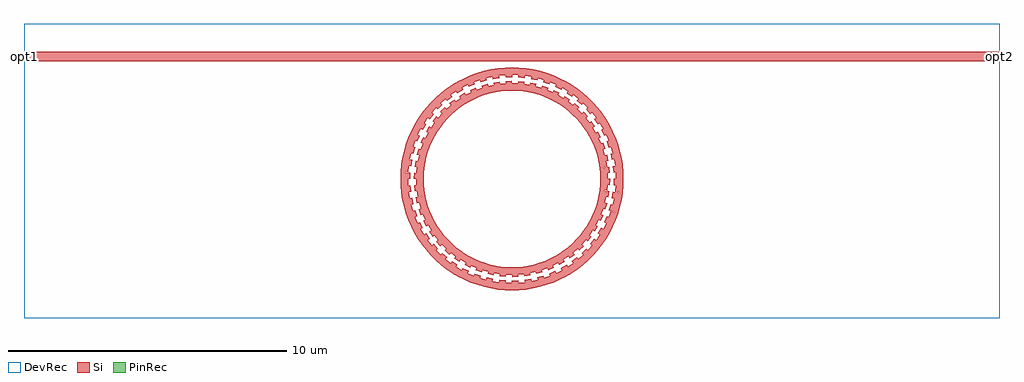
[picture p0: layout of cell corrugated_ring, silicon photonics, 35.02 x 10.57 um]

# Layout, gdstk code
import gdstk
lib = gdstk.Library(unit=1e-6, precision=1e-09)
def R(c, l, rs):  # rectangles x0, y0, x1, y1
    for r in rs: c.add(gdstk.rectangle(r[:2], r[2:], *l))
def P(c, l, *ps):  # polygons
    for p in ps: c.add(gdstk.Polygon(p, *l))
Si = (1, 0)
PinRec = (1, 10)
DevRec = (68, 0)

inner_1 = lib.new_cell('Inner$1')
P(inner_1, Si, [(-3.114,0.593),(-3.379,0.643),(-3.332,0.855),(-3.07,0.788)],
  [(3.332,-0.855),(3.07,-0.788),(3.114,-0.593),(3.379,-0.643)],
  [(-3.52,0),(-3.513,0.22),(-3.164,0.198),(-3.17,0)],
  [(3.114,0.595),(3.07,0.788),(3.409,0.875),(3.457,0.661)],
  [(0.442,-3.492),(0.398,-3.145),(0.594,-3.114),(0.66,-3.458)],
  [(2.169,2.312),(2.021,2.443),(2.244,2.712),(2.409,2.567)],
  [(0.216,-3.433),(0.199,-3.164),(0.398,-3.145),(0.432,-3.413)],
  [(0.001,-3.52),(0.001,-3.17),(0.199,-3.164),(0.221,-3.513)],
  [(-0.43,-3.413),(-0.645,-3.379),(-0.594,-3.114),(-0.396,-3.145)],
  [(0.396,3.145),(0.199,3.164),(0.221,3.513),(0.44,3.492)],
  [(-0.221,-3.513),(-0.44,-3.492),(-0.396,-3.145),(-0.199,-3.164)],
  [(3.015,0.981),(2.947,1.167),(3.273,1.296),(3.347,1.089)],
  [(-2.354,-2.508),(-2.508,-2.355),(-2.311,-2.17),(-2.169,-2.312)],
  [(-0.398,3.145),(-0.432,3.413),(-0.216,3.433),(-0.199,3.164)],
  [(-1.265,-3.199),(-1.465,-3.113),(-1.35,-2.868),(-1.166,-2.948)],
  [(2.676,1.699),(2.565,1.863),(2.848,2.069),(2.971,1.887)],
  [(1.063,-3.272),(0.98,-3.015),(1.168,-2.947),(1.267,-3.198)],
  [(-1.656,-3.015),(-1.843,-2.904),(-1.699,-2.677),(-1.526,-2.778)],
  [(1.697,-3.084),(1.528,-2.777),(1.699,-2.677),(1.886,-2.972)],
  [(2.41,-2.565),(2.171,-2.31),(2.311,-2.17),(2.566,-2.41)],
  [(2.508,-2.355),(2.311,-2.17),(2.443,-2.02),(2.651,-2.192)],
  [(1.297,-3.272),(1.168,-2.947),(1.35,-2.868),(1.499,-3.185)],
  [(3.17,0),(3.164,0.2),(3.433,0.217),(3.44,0)],
  [(-1.886,-2.972),(-2.068,-2.848),(-1.862,-2.565),(-1.699,-2.677)],
  [(-2.778,1.527),(-3.085,1.696),(-2.973,1.885),(-2.677,1.698)],
  [(-2.311,2.17),(-2.566,2.41),(-2.41,2.565),(-2.171,2.31)],
  [(-2.565,1.863),(-2.848,2.069),(-2.713,2.243),(-2.443,2.02)],
  [(2.947,1.167),(2.868,1.351),(3.112,1.466),(3.198,1.266)],
  [(2.778,1.527),(2.676,1.699),(2.904,1.844),(3.014,1.657)],
  [(-3.433,-0.217),(-3.44,0),(-3.17,0),(-3.164,-0.2)],
  [(3.413,-0.431),(3.145,-0.397),(3.164,-0.198),(3.433,-0.215)],
  [(3.164,0.2),(3.145,0.397),(3.492,0.441),(3.513,0.222)],
  [(0.877,-3.409),(0.789,-3.07),(0.98,-3.015),(1.088,-3.348)],
  [(-3.164,0.198),(-3.433,0.215),(-3.413,0.431),(-3.145,0.397)],
  [(2.713,-2.243),(2.443,-2.02),(2.565,-1.863),(2.848,-2.069)],
  [(-1.528,2.777),(-1.658,3.014),(-1.465,3.113),(-1.35,2.868)],
  [(-1.699,2.677),(-1.886,2.972),(-1.697,3.084),(-1.528,2.777)],
  [(2.311,2.17),(2.169,2.312),(2.354,2.508),(2.508,2.355)],
  [(1.862,2.565),(1.699,2.677),(1.886,2.972),(2.068,2.848)],
  [(-3.015,0.979),(-3.272,1.062),(-3.198,1.266),(-2.947,1.167)],
  [(-2.171,2.31),(-2.356,2.507),(-2.193,2.651),(-2.021,2.443)],
  [(3.513,-0.22),(3.164,-0.198),(3.17,0),(3.52,0)],
  [(2.193,-2.651),(2.021,-2.443),(2.171,-2.31),(2.356,-2.507)],
  [(3.185,-1.498),(2.869,-1.349),(2.947,-1.167),(3.273,-1.296)],
  [(1.526,2.778),(1.35,2.868),(1.499,3.185),(1.695,3.085)],
  [(-2.65,-2.194),(-2.783,-2.022),(-2.565,-1.863),(-2.442,-2.021)],
  [(-1.499,-3.185),(-1.695,-3.085),(-1.526,-2.778),(-1.35,-2.868)],
  [(-0.98,3.015),(-1.088,3.348),(-0.877,3.409),(-0.789,3.07)],
  [(2.973,-1.885),(2.677,-1.698),(2.778,-1.527),(3.085,-1.696)],
  [(0.199,3.164),(-0.001,3.17),(-0.001,3.44),(0.216,3.433)],
  [(-0.789,3.07),(-0.857,3.332),(-0.645,3.379),(-0.594,3.114)],
  [(-0.66,-3.458),(-0.874,-3.41),(-0.787,-3.071),(-0.594,-3.114)],
  [(-1.168,2.947),(-1.267,3.198),(-1.063,3.272),(-0.98,3.015)],
  [(-2.947,1.167),(-3.273,1.296),(-3.185,1.498),(-2.869,1.349)],
  [(3.348,-1.087),(3.015,-0.979),(3.07,-0.788),(3.409,-0.875)],
  [(-3.273,-1.296),(-3.347,-1.089),(-3.015,-0.981),(-2.947,-1.167)],
  [(-2.904,-1.844),(-3.014,-1.657),(-2.778,-1.527),(-2.676,-1.699)],
  [(3.458,-0.658),(3.114,-0.593),(3.145,-0.397),(3.492,-0.441)],
  [(-3.145,0.397),(-3.492,0.441),(-3.458,0.658),(-3.114,0.593)],
  [(-3.112,-1.466),(-3.198,-1.266),(-2.947,-1.167),(-2.868,-1.351)],
  [(-1.864,2.564),(-2.023,2.782),(-1.843,2.904),(-1.699,2.677)],
  [(2.021,2.443),(1.862,2.565),(2.021,2.784),(2.193,2.651)],
  [(-3.085,-1.696),(-3.184,-1.5),(-2.868,-1.351),(-2.778,-1.527)],
  [(-1.35,2.868),(-1.499,3.185),(-1.297,3.272),(-1.168,2.947)],
  [(-2.443,2.02),(-2.651,2.192),(-2.508,2.355),(-2.311,2.17)],
  [(0.594,3.114),(0.396,3.145),(0.43,3.413),(0.645,3.379)],
  [(-2.869,1.349),(-3.113,1.464),(-3.014,1.657),(-2.778,1.527)],
  [(-0.854,-3.332),(-1.063,-3.272),(-0.98,-3.015),(-0.787,-3.071)],
  [(1.166,2.948),(0.98,3.015),(1.088,3.348),(1.295,3.273)],
  [(1.843,-2.904),(1.699,-2.677),(1.864,-2.564),(2.023,-2.782)],
  [(1.465,-3.113),(1.35,-2.868),(1.528,-2.777),(1.658,-3.014)],
  [(-3.492,-0.441),(-3.513,-0.222),(-3.164,-0.2),(-3.145,-0.397)],
  [(0.98,3.015),(0.787,3.071),(0.854,3.332),(1.063,3.272)],
  [(-3.07,0.788),(-3.409,0.875),(-3.348,1.087),(-3.015,0.979)],
  [(-2.021,-2.784),(-2.193,-2.651),(-2.021,-2.443),(-1.862,-2.565)],
  [(2.783,-2.022),(2.565,-1.863),(2.677,-1.698),(2.905,-1.842)],
  [(2.565,1.863),(2.442,2.021),(2.65,2.194),(2.783,2.022)],
  [(0.001,-3.44),(-0.216,-3.433),(-0.199,-3.164),(0.001,-3.17)],
  [(-1.088,-3.348),(-1.295,-3.273),(-1.166,-2.948),(-0.98,-3.015)],
  [(3.014,-1.657),(2.778,-1.527),(2.869,-1.349),(3.113,-1.464)],
  [(-0.199,3.164),(-0.221,3.513),(-0.001,3.52),(-0.001,3.17)],
  [(-2.244,-2.712),(-2.409,-2.567),(-2.169,-2.312),(-2.021,-2.443)],
  [(0.645,-3.379),(0.594,-3.114),(0.789,-3.07),(0.857,-3.332)],
  [(3.07,0.788),(3.015,0.981),(3.271,1.064),(3.332,0.855)],
  [(2.442,2.021),(2.311,2.17),(2.566,2.41),(2.711,2.245)],
  [(3.145,0.397),(3.114,0.595),(3.379,0.646),(3.413,0.431)],
  [(2.07,-2.847),(1.864,-2.564),(2.021,-2.443),(2.244,-2.712)],
  [(1.35,2.868),(1.166,2.948),(1.265,3.199),(1.465,3.113)],
  [(-0.594,3.114),(-0.66,3.458),(-0.442,3.492),(-0.398,3.145)],
  [(2.868,1.351),(2.778,1.527),(3.085,1.696),(3.184,1.5)],
  [(-2.566,-2.41),(-2.711,-2.245),(-2.442,-2.021),(-2.311,-2.17)],
  [(-2.021,2.443),(-2.244,2.712),(-2.07,2.847),(-1.864,2.564)],
  [(0.787,3.071),(0.594,3.114),(0.66,3.458),(0.874,3.41)],
  [(-2.677,1.698),(-2.905,1.842),(-2.783,2.022),(-2.565,1.863)],
  [(-3.379,-0.646),(-3.413,-0.431),(-3.145,-0.397),(-3.114,-0.595)],
  [(1.699,2.677),(1.526,2.778),(1.656,3.015),(1.843,2.904)],
  [(-3.271,-1.064),(-3.332,-0.855),(-3.07,-0.788),(-3.015,-0.981)],
  [(-3.409,-0.875),(-3.457,-0.661),(-3.114,-0.595),(-3.07,-0.788)],
  [(3.198,-1.266),(2.947,-1.167),(3.015,-0.979),(3.272,-1.062)],
  [(-2.848,-2.069),(-2.971,-1.887),(-2.676,-1.699),(-2.565,-1.863)])

outer_1 = lib.new_cell('Outer$1')
R(outer_1, Si, [(-17.5,4.23,17.5,4.57)])
P(outer_1, Si, [(-1.928,-3.505),(-2.143,-3.377),(-1.999,-3.149),(-1.798,-3.268)],
  [(-3.394,1.344),(-3.719,1.472),(-3.619,1.704),(-3.302,1.555)],
  [(-0.001,-4),(-0.251,-3.992),(-0.234,-3.723),(-0.001,-3.73)],
  [(2.499,2.66),(2.327,2.812),(2.55,3.082),(2.739,2.915)],
  [(1.236,-3.804),(1.153,-3.547),(1.372,-3.468),(1.472,-3.719)],
  [(2.719,2.553),(2.554,2.719),(2.739,2.915),(2.916,2.738)],
  [(2.146,2.953),(1.956,3.082),(2.143,3.377),(2.352,3.236)],
  [(1.703,-3.619),(1.588,-3.375),(1.796,-3.269),(1.926,-3.506)],
  [(1.153,3.547),(0.928,3.613),(0.995,3.874),(1.236,3.804)],
  [(-3.236,-2.351),(-3.378,-2.143),(-3.082,-1.955),(-2.953,-2.145)],
  [(-2.192,3.018),(-2.351,3.236),(-2.143,3.377),(-1.999,3.149)],
  [(3.619,-1.704),(3.302,-1.555),(3.394,-1.344),(3.719,-1.472)],
  [(3.73,0),(3.723,0.234),(3.992,0.25),(4,0)],
  [(1.472,-3.719),(1.343,-3.394),(1.554,-3.303),(1.703,-3.619)],
  [(-3.505,-1.927),(-3.62,-1.702),(-3.303,-1.553),(-3.199,-1.758)],
  [(-3.149,1.999),(-3.377,2.144),(-3.236,2.351),(-3.018,2.192)],
  [(3.968,-0.501),(3.701,-0.467),(3.723,-0.235),(3.992,-0.252)],
  [(-0.251,-3.992),(-0.502,-3.968),(-0.458,-3.621),(-0.229,-3.643)],
  [(3.719,-1.472),(3.468,-1.373),(3.547,-1.153),(3.804,-1.237)],
  [(2.55,-3.082),(2.378,-2.874),(2.553,-2.72),(2.738,-2.916)],
  [(1.759,3.198),(1.554,3.303),(1.703,3.619),(1.928,3.505)],
  [(-2.916,-2.738),(-3.083,-2.549),(-2.813,-2.326),(-2.661,-2.499)],
  [(-1.956,3.082),(-2.143,3.377),(-1.926,3.506),(-1.758,3.199)],
  [(-0.75,-3.929),(-0.995,-3.874),(-0.908,-3.535),(-0.684,-3.585)],
  [(-1.796,3.269),(-1.926,3.506),(-1.703,3.619),(-1.588,3.375)],
  [(-0.467,3.701),(-0.501,3.969),(-0.251,3.992),(-0.234,3.723)],
  [(2.378,2.874),(2.193,3.017),(2.352,3.236),(2.55,3.082)],
  [(3.472,1.127),(3.394,1.344),(3.719,1.472),(3.804,1.235)],
  [(2.351,-3.236),(2.145,-2.953),(2.327,-2.812),(2.55,-3.082)],
  [(-2.661,2.499),(-2.916,2.738),(-2.738,2.916),(-2.498,2.661)],
  [(3.929,-0.75),(3.585,-0.685),(3.621,-0.457),(3.968,-0.501)],
  [(3.804,-1.237),(3.471,-1.129),(3.535,-0.908),(3.874,-0.995)],
  [(-0.684,3.585),(-0.75,3.929),(-0.501,3.969),(-0.457,3.621)],
  [(3.303,1.553),(3.199,1.758),(3.505,1.927),(3.62,1.702)],
  [(3.613,0.928),(3.548,1.152),(3.804,1.235),(3.874,0.995)],
  [(2.738,-2.916),(2.498,-2.661),(2.661,-2.499),(2.916,-2.738)],
  [(1.588,3.375),(1.374,3.468),(1.473,3.719),(1.703,3.619)],
  [(-1.473,-3.719),(-1.703,-3.619),(-1.588,-3.375),(-1.374,-3.468)],
  [(3.082,-2.55),(2.812,-2.327),(2.953,-2.145),(3.236,-2.351)],
  [(3.018,2.192),(2.874,2.377),(3.083,2.549),(3.236,2.351)],
  [(0.699,3.664),(0.468,3.701),(0.502,3.968),(0.75,3.929)],
  [(3.236,-2.351),(3.018,-2.192),(3.149,-1.999),(3.377,-2.144)],
  [(-2.553,2.72),(-2.738,2.916),(-2.55,3.082),(-2.378,2.874)],
  [(-3.378,-2.143),(-3.505,-1.927),(-3.269,-1.797),(-3.15,-1.998)],
  [(-3.664,0.7),(-3.929,0.75),(-3.874,0.995),(-3.613,0.928)],
  [(3.585,0.683),(3.535,0.908),(3.874,0.995),(3.929,0.749)],
  [(-0.229,3.643),(-0.251,3.992),(0.001,4),(0.001,3.65)],
  [(-1.554,3.303),(-1.703,3.619),(-1.472,3.719),(-1.343,3.394)],
  [(-3.375,1.589),(-3.619,1.704),(-3.505,1.927),(-3.269,1.797)],
  [(3.269,1.797),(3.15,1.998),(3.378,2.143),(3.505,1.927)],
  [(3.468,1.373),(3.375,1.588),(3.62,1.702),(3.719,1.472)],
  [(1.344,3.393),(1.128,3.471),(1.236,3.804),(1.473,3.719)],
  [(-3.621,0.457),(-3.968,0.501),(-3.929,0.75),(-3.585,0.685)],
  [(-3.968,-0.501),(-3.992,-0.25),(-3.643,-0.229),(-3.621,-0.457)],
  [(-0.001,-4),(-0.001,-3.65),(0.229,-3.643),(0.251,-3.992)],
  [(-1.236,-3.804),(-1.473,-3.719),(-1.344,-3.393),(-1.128,-3.471)],
  [(-1.372,3.468),(-1.472,3.719),(-1.236,3.804),(-1.153,3.547)],
  [(-3.719,-1.472),(-3.804,-1.235),(-3.472,-1.127),(-3.394,-1.344)],
  [(2.916,-2.738),(2.719,-2.553),(2.874,-2.378),(3.082,-2.55)],
  [(-4,0),(-3.992,0.252),(-3.643,0.23),(-3.65,0)],
  [(-3.199,1.758),(-3.505,1.927),(-3.377,2.144),(-3.081,1.956)],
  [(3.701,0.467),(3.664,0.698),(3.929,0.749),(3.968,0.501)],
  [(-3.083,-2.549),(-3.236,-2.351),(-3.018,-2.192),(-2.874,-2.377)],
  [(0.458,3.621),(0.229,3.643),(0.251,3.992),(0.502,3.968)],
  [(-1.703,-3.619),(-1.928,-3.505),(-1.759,-3.198),(-1.554,-3.303)],
  [(-2.327,2.812),(-2.55,3.082),(-2.351,3.236),(-2.145,2.953)],
  [(-3.547,1.153),(-3.804,1.237),(-3.719,1.472),(-3.468,1.373)],
  [(-1.128,3.471),(-1.236,3.804),(-0.994,3.875),(-0.907,3.535)],
  [(-3.535,0.908),(-3.874,0.995),(-3.804,1.237),(-3.471,1.129)],
  [(3.874,-0.995),(3.613,-0.928),(3.664,-0.7),(3.929,-0.75)],
  [(-0.927,3.613),(-0.994,3.875),(-0.75,3.929),(-0.699,3.664)],
  [(3.505,-1.927),(3.269,-1.797),(3.375,-1.589),(3.619,-1.704)],
  [(-0.502,-3.968),(-0.75,-3.929),(-0.699,-3.664),(-0.468,-3.701)],
  [(1.999,3.149),(1.798,3.268),(1.928,3.505),(2.143,3.377)],
  [(3.643,0.229),(3.621,0.457),(3.968,0.501),(3.992,0.25)],
  [(0.908,3.535),(0.684,3.585),(0.75,3.929),(0.995,3.874)],
  [(2.813,2.326),(2.661,2.499),(2.916,2.738),(3.083,2.549)],
  [(3.082,1.955),(2.953,2.145),(3.236,2.351),(3.378,2.143)],
  [(-2.352,-3.236),(-2.55,-3.082),(-2.378,-2.874),(-2.193,-3.017)],
  [(3.377,-2.144),(3.081,-1.956),(3.199,-1.758),(3.505,-1.927)],
  [(-3.929,-0.749),(-3.968,-0.501),(-3.701,-0.467),(-3.664,-0.698)],
  [(0.234,3.723),(0.001,3.73),(0.001,4),(0.251,3.992)],
  [(1.926,-3.506),(1.758,-3.199),(1.956,-3.082),(2.143,-3.377)],
  [(0.75,-3.929),(0.699,-3.664),(0.927,-3.613),(0.994,-3.875)],
  [(-0.995,-3.874),(-1.236,-3.804),(-1.153,-3.547),(-0.928,-3.613)],
  [(0.251,-3.992),(0.234,-3.723),(0.467,-3.701),(0.501,-3.969)],
  [(-3.62,-1.702),(-3.719,-1.472),(-3.468,-1.373),(-3.375,-1.588)],
  [(3.992,-0.252),(3.643,-0.23),(3.65,0),(4,0)],
  [(-2.143,-3.377),(-2.352,-3.236),(-2.146,-2.953),(-1.956,-3.082)],
  [(-3.804,-1.235),(-3.874,-0.995),(-3.613,-0.928),(-3.548,-1.152)],
  [(2.143,-3.377),(1.999,-3.149),(2.192,-3.018),(2.351,-3.236)],
  [(-3.992,-0.25),(-4,0),(-3.73,0),(-3.723,-0.234)],
  [(0.994,-3.875),(0.907,-3.535),(1.128,-3.471),(1.236,-3.804)],
  [(-3.723,0.235),(-3.992,0.252),(-3.968,0.501),(-3.701,0.467)],
  [(-2.953,2.145),(-3.236,2.351),(-3.082,2.55),(-2.812,2.327)],
  [(-2.55,-3.082),(-2.739,-2.915),(-2.499,-2.66),(-2.327,-2.812)],
  [(-2.739,-2.915),(-2.916,-2.738),(-2.719,-2.553),(-2.554,-2.719)],
  [(-2.874,2.378),(-3.082,2.55),(-2.916,2.738),(-2.719,2.553)],
  [(-3.874,-0.995),(-3.929,-0.749),(-3.585,-0.683),(-3.535,-0.908)],
  [(0.501,-3.969),(0.457,-3.621),(0.684,-3.585),(0.75,-3.929)])

corrugated_ring = lib.new_cell('corrugated_ring')
R(corrugated_ring, DevRec, [(-18.446,-5.71,16.554,4.86)])
corrugated_ring.add(gdstk.FlexPath([(16.544,3.69),(16.564,3.69)], 0.34, ends="flush", simple_path=True, layer=1, datatype=10))  # PinRec
corrugated_ring.add(gdstk.FlexPath([(-18.436,3.69),(-18.456,3.69)], 0.34, ends="flush", simple_path=True, layer=1, datatype=10))  # PinRec
corrugated_ring.add(gdstk.Reference(inner_1, (-0.946,-0.71)))
corrugated_ring.add(gdstk.Reference(outer_1, (-0.946,-0.71)))
corrugated_ring.add(gdstk.Label('opt2', (16.554,3.69), layer=1, texttype=10))
corrugated_ring.add(gdstk.Label('opt1', (-18.446,3.69), layer=1, texttype=10))

lib.write_gds('corrugated_ring.gds')
